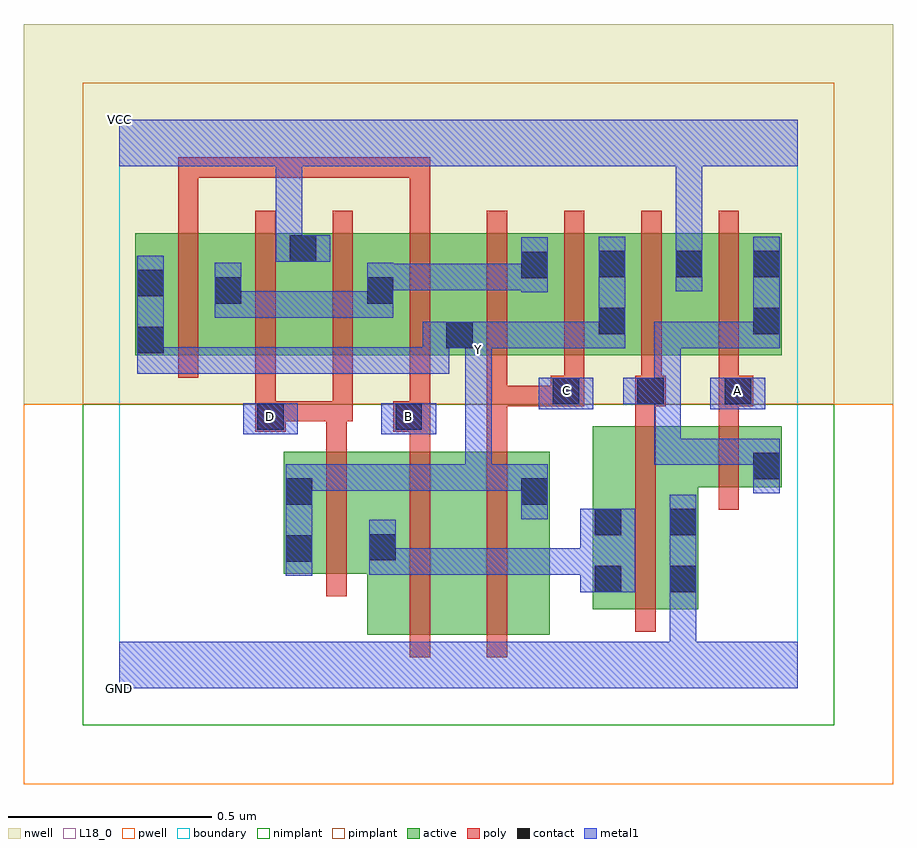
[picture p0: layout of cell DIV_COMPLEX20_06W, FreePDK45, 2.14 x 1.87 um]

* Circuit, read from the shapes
.subckt DIV_COMPLEX20_06W A B C D GND VCC Y
M1 n1 D Y VSUBS nfet w=0.3u l=0.05u
M2 n2 B n1 VSUBS nfet w=0.45u l=0.05u
M3 Y C n2 VSUBS nfet w=0.45u l=0.05u
M4 GND n3 n1 VSUBS nfet w=0.45u l=0.05u
M5 n3 A GND VSUBS nfet w=0.15u l=0.05u
M6 n4 B Y n5 pfet w=0.3u l=0.05u m=2
M7 VCC D n4 n5 pfet w=0.3u l=0.05u m=2
M8 n4 C Y n5 pfet w=0.3u l=0.05u m=2
M9 VCC n3 Y n5 pfet w=0.3u l=0.05u
M10 n3 A VCC n5 pfet w=0.3u l=0.05u
.ends

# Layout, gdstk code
import gdstk
lib = gdstk.Library(unit=1e-6, precision=1e-09)
def R(c, l, rs):  # rectangles x0, y0, x1, y1
    for r in rs: c.add(gdstk.rectangle(r[:2], r[2:], *l))
def A(c, l, x, y, w, h, nx, ny, dx, dy):  # array of equal rectangles
    R(c, l, [(x+i*dx, y+j*dy, x+i*dx+w, y+j*dy+h) for i in range(nx) for j in range(ny)])
active = (1, 0)
pwell = (2, 0)
nwell = (3, 0)
nimplant = (4, 0)
pimplant = (5, 0)
poly = (9, 0)
contact = (10, 0)
metal1 = (11, 0)
L18_0 = (18, 0)
boundary = (235, 0)

div_complex20_06w = lib.new_cell('DIV_COMPLEX20_06W')
A(div_complex20_06w, active, 0.985, 0.82, 0.265, 0.3, 3, 1, 0.19, 0)
R(div_complex20_06w, active, [(0.61,0.132,0.835,0.582), (0.835,0.132,1.06,0.582), (0.985,0.195,1.06,0.582), (1.165,0.195,1.425,0.645), (1.165,0.195,1.24,0.645), (1.35,0.195,1.425,0.572), (0.61,0.2,0.685,0.537), (0.405,0.282,0.685,0.582), (0.405,0.282,0.48,0.582), (1.35,0.495,1.63,0.645), (1.555,0.495,1.63,0.645), (0.04,0.82,0.305,1.12), (0.04,0.82,0.115,1.055), (0.23,0.82,0.305,1.12), (0.23,0.82,0.49,1.12), (0.415,0.82,0.68,1.12), (0.605,0.82,0.875,1.12), (0.8,0.82,1.06,1.12), (1.175,0.82,1.25,1.12), (1.365,0.82,1.44,1.12), (1.555,0.82,1.63,1.082), (0.8,0.832,0.875,1.055), (0.605,0.852,0.68,1.12), (0.415,0.882,0.49,1.12), (0.985,0.882,1.06,1.12)])
R(div_complex20_06w, pwell, [(-0.235,-0.235,1.905,0.7)])
R(div_complex20_06w, nwell, [(-0.235,0.7,1.905,1.635)])
R(div_complex20_06w, nimplant, [(-0.09,-0.09,1.76,0.7)])
R(div_complex20_06w, pimplant, [(-0.09,0.7,1.76,1.49)])
A(div_complex20_06w, poly, 0.335, 0.657, 0.05, 0.158, 3, 1, 0.19, 0)
A(div_complex20_06w, poly, 1.095, 0.72, 0.05, 0.095, 3, 1, 0.19, 0)
A(div_complex20_06w, poly, 0.145, 0.765, 0.05, 0.41, 8, 1, 0.19, 0)
R(div_complex20_06w, poly, [(0.715,0.077,0.765,0.637), (0.905,0.077,0.955,0.637), (1.27,0.14,1.32,0.7), (0.51,0.227,0.56,0.637), (1.475,0.44,1.525,0.7), (0.51,0.587,0.56,0.707), (0.715,0.587,0.765,0.682), (0.905,0.587,0.955,0.745), (0.335,0.632,0.41,0.707), (0.675,0.632,0.765,0.707), (1.27,0.65,1.32,0.745), (1.475,0.65,1.525,0.745), (0.36,0.657,0.41,0.707), (0.36,0.657,0.41,0.707), (0.36,0.657,0.56,0.707), (0.51,0.657,0.575,0.707), (0.905,0.695,1.112,0.745), (0.905,0.695,0.955,0.745), (0.905,0.695,0.955,0.745), (0.905,0.695,0.955,0.745), (0.905,0.695,0.955,0.815), (1.062,0.695,1.145,0.77), (1.27,0.695,1.345,0.77), (1.475,0.695,1.56,0.77), (0.145,1.125,0.195,1.307), (0.715,1.125,0.765,1.307), (0.145,1.257,0.195,1.307), (0.145,1.257,0.195,1.307), (0.145,1.257,0.195,1.307), (0.145,1.257,0.365,1.307), (0.315,1.257,0.365,1.307), (0.315,1.257,0.365,1.307), (0.315,1.257,0.365,1.307), (0.315,1.257,0.542,1.307), (0.492,1.257,0.542,1.307), (0.492,1.257,0.542,1.307), (0.492,1.257,0.542,1.307), (0.492,1.257,0.765,1.307), (0.715,1.257,0.765,1.307)])
A(div_complex20_06w, contact, 1.18, 1.012, 0.065, 0.065, 3, 1, 0.19, 0)
R(div_complex20_06w, contact, [(1.17,0.237,1.235,0.302), (1.355,0.237,1.42,0.302), (0.41,0.312,0.475,0.377), (0.615,0.315,0.68,0.38), (1.17,0.377,1.235,0.442), (1.355,0.377,1.42,0.442), (0.41,0.452,0.475,0.517), (0.99,0.452,1.055,0.517), (1.56,0.515,1.625,0.58), (0.34,0.637,0.405,0.702), (0.68,0.637,0.745,0.702), (1.067,0.7,1.132,0.765), (1.275,0.7,1.34,0.765), (1.49,0.7,1.555,0.765), (0.045,0.825,0.11,0.89), (0.805,0.837,0.87,0.902), (1.18,0.872,1.245,0.937), (1.56,0.872,1.625,0.937), (0.235,0.947,0.3,1.012), (0.61,0.947,0.675,1.012), (0.045,0.965,0.11,1.03), (0.99,1.01,1.055,1.075), (0.42,1.05,0.485,1.115)])
R(div_complex20_06w, metal1, [(0,0,1.67,0.115), (1.355,0.05,1.42,0.267), (1.355,0.202,1.42,0.267), (1.355,0.202,1.42,0.267), (1.355,0.202,1.42,0.477), (1.135,0.237,1.27,0.442), (0.41,0.277,0.475,0.552), (0.615,0.28,0.68,0.345), (0.615,0.28,0.68,0.345), (0.615,0.28,0.68,0.415), (0.615,0.28,0.817,0.345), (0.752,0.28,0.817,0.345), (0.752,0.28,0.96,0.345), (0.895,0.28,0.96,0.345), (0.895,0.28,1.055,0.345), (0.99,0.28,1.055,0.345), (0.99,0.28,1.097,0.345), (1.032,0.28,1.097,0.345), (1.032,0.28,1.2,0.345), (0.99,0.417,1.055,0.552), (1.56,0.48,1.625,0.615), (0.41,0.487,0.475,0.552), (0.41,0.487,0.475,0.552), (0.41,0.487,0.68,0.552), (0.615,0.487,0.68,0.552), (0.615,0.487,0.68,0.552), (0.615,0.487,0.68,0.552), (0.615,0.487,0.917,0.552), (0.852,0.487,0.917,0.552), (0.852,0.487,0.96,0.552), (0.852,0.487,0.917,0.832), (0.895,0.487,0.96,0.552), (0.895,0.487,1.055,0.552), (1.317,0.55,1.382,0.615), (1.317,0.55,1.625,0.615), (1.317,0.55,1.382,0.765), (1.56,0.55,1.625,0.615), (1.56,0.55,1.625,0.615), (0.305,0.625,0.44,0.702), (0.645,0.625,0.78,0.702), (1.032,0.687,1.167,0.765), (1.455,0.687,1.59,0.765), (1.24,0.7,1.375,0.765), (1.31,0.7,1.375,0.765), (1.31,0.7,1.382,0.765), (1.317,0.7,1.382,0.902), (0.852,0.767,0.917,0.902), (0.045,0.775,0.247,0.84), (0.045,0.775,0.11,0.855), (0.182,0.775,0.247,0.84), (0.182,0.775,0.247,0.84), (0.182,0.775,0.247,0.84), (0.182,0.775,0.437,0.84), (0.372,0.775,0.437,0.84), (0.372,0.775,0.437,0.84), (0.372,0.775,0.437,0.84), (0.372,0.775,0.612,0.84), (0.547,0.775,0.612,0.84), (0.547,0.775,0.812,0.84), (0.747,0.775,0.812,0.902), (0.045,0.79,0.11,0.855), (0.045,0.79,0.11,1.065), (0.747,0.837,0.835,0.902), (0.77,0.837,0.917,0.902), (0.852,0.837,0.917,0.902), (0.852,0.837,0.96,0.902), (0.895,0.837,0.96,0.902), (0.895,0.837,1.055,0.902), (0.99,0.837,1.055,0.902), (0.99,0.837,1.097,0.902), (1.032,0.837,1.097,0.902), (1.032,0.837,1.245,0.902), (1.18,0.837,1.245,1.112), (1.317,0.837,1.382,0.902), (1.317,0.837,1.625,0.902), (1.56,0.837,1.625,0.902), (1.56,0.837,1.625,0.902), (1.56,0.837,1.625,1.112), (0.235,0.912,0.3,0.977), (0.235,0.912,0.3,0.977), (0.235,0.912,0.3,1.047), (0.235,0.912,0.437,0.977), (0.372,0.912,0.437,0.977), (0.372,0.912,0.437,0.977), (0.372,0.912,0.437,0.977), (0.372,0.912,0.675,0.977), (0.61,0.912,0.675,1.047), (0.99,0.975,1.055,1.11), (1.37,0.977,1.435,1.112), (0.61,0.98,0.675,1.045), (0.61,0.98,0.675,1.045), (0.61,0.98,0.917,1.045), (0.852,0.98,0.917,1.045), (0.852,0.98,0.96,1.045), (0.895,0.98,0.96,1.045), (0.895,0.98,1.055,1.045), (1.37,1.047,1.435,1.112), (1.37,1.047,1.435,1.112), (1.37,1.047,1.435,1.35), (0.385,1.05,0.45,1.115), (0.385,1.05,0.45,1.115), (0.385,1.05,0.52,1.115), (0.385,1.05,0.45,1.35), (0,1.285,1.67,1.4)])
R(div_complex20_06w, L18_0, [(0,0,1.67,0.115), (1.355,0.05,1.42,0.267), (1.355,0.202,1.42,0.477), (1.355,0.202,1.42,0.267), (1.355,0.202,1.42,0.267), (0.41,0.277,0.475,0.552), (0.99,0.417,1.055,0.552), (0.41,0.487,0.475,0.552), (0.41,0.487,0.475,0.552), (0.41,0.487,0.68,0.552), (0.615,0.487,0.68,0.552), (0.615,0.487,0.68,0.552), (0.615,0.487,0.68,0.552), (0.615,0.487,0.917,0.552), (0.852,0.487,0.917,0.552), (0.852,0.487,0.917,0.832), (0.852,0.487,0.96,0.552), (0.895,0.487,0.96,0.552), (0.895,0.487,1.055,0.552), (0.305,0.625,0.44,0.702), (0.645,0.625,0.78,0.702), (0.34,0.637,0.405,0.702), (0.68,0.637,0.745,0.702), (1.032,0.687,1.167,0.765), (1.455,0.687,1.59,0.765), (1.067,0.7,1.132,0.765), (1.49,0.7,1.555,0.765), (0.852,0.767,0.917,0.902), (0.045,0.775,0.11,0.855), (0.045,0.775,0.247,0.84), (0.182,0.775,0.247,0.84), (0.182,0.775,0.247,0.84), (0.182,0.775,0.247,0.84), (0.182,0.775,0.437,0.84), (0.372,0.775,0.437,0.84), (0.372,0.775,0.437,0.84), (0.372,0.775,0.437,0.84), (0.372,0.775,0.612,0.84), (0.547,0.775,0.612,0.84), (0.547,0.775,0.812,0.84), (0.747,0.775,0.812,0.902), (0.045,0.79,0.11,1.065), (0.045,0.79,0.11,0.855), (0.852,0.802,0.917,0.867), (0.747,0.837,0.835,0.902), (0.77,0.837,0.917,0.902), (0.852,0.837,0.917,0.902), (0.852,0.837,0.96,0.902), (0.895,0.837,0.96,0.902), (0.895,0.837,1.055,0.902), (0.99,0.837,1.055,0.902), (0.99,0.837,1.097,0.902), (1.032,0.837,1.097,0.902), (1.032,0.837,1.245,0.902), (1.18,0.837,1.245,1.112), (1.37,0.977,1.435,1.112), (1.37,1.047,1.435,1.112), (1.37,1.047,1.435,1.112), (1.37,1.047,1.435,1.35), (0.385,1.05,0.45,1.115), (0.385,1.05,0.45,1.115), (0.385,1.05,0.52,1.115), (0.385,1.05,0.45,1.35), (0,1.285,1.67,1.4)])
R(div_complex20_06w, boundary, [(0,0,1.67,1.4)])
div_complex20_06w.add(gdstk.Label('A', (1.522,0.732), layer=11, texttype=0))
div_complex20_06w.add(gdstk.Label('B', (0.712,0.67), layer=11, texttype=0))
div_complex20_06w.add(gdstk.Label('C', (1.1,0.732), layer=11, texttype=0))
div_complex20_06w.add(gdstk.Label('D', (0.372,0.67), layer=11, texttype=0))
div_complex20_06w.add(gdstk.Label('Y', (0.885,0.835), layer=11, texttype=0))
div_complex20_06w.add(gdstk.Label('VCC', (0,1.4), layer=11, texttype=0))
div_complex20_06w.add(gdstk.Label('GND', (0,0), layer=11, texttype=0))

lib.write_gds('DIV_COMPLEX20_06W.gds')
